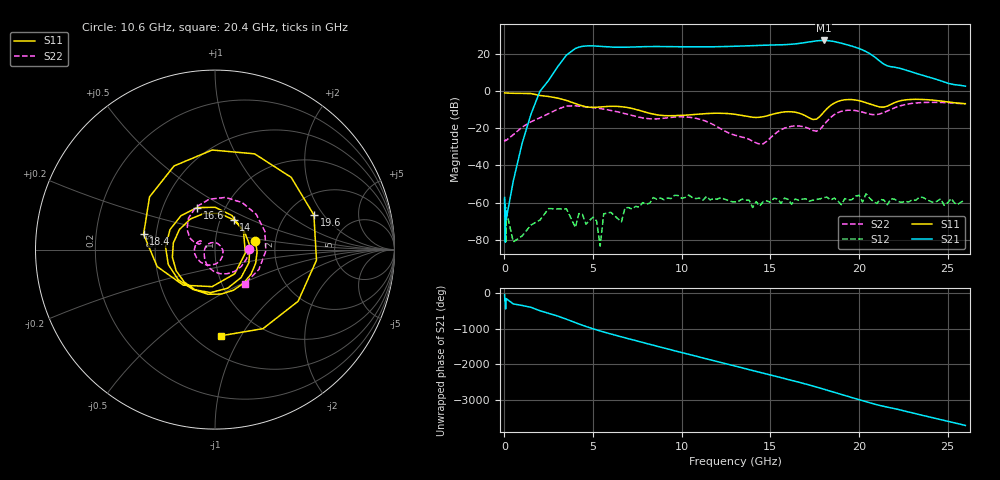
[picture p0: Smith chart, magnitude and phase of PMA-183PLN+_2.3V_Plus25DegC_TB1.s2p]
!Keysight Technologies,N5244A,MY52442000,A.10.40.14
!Date: Tuesday, July 07, 2020 10:56:32
!Correction: S11(Full 2 Port(1,2))
!S21(Full 2 Port(1,2))
!S12(Full 2 Port(1,2))
!S22(Full 2 Port(1,2))
!S2P File: Measurements: S11, S21, S12, S22:
# Hz S  dB  R 50
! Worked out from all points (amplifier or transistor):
!   128 points, 10 MHz to 26 GHz, reference 50 ohm
!   highest |S21| = 27.1 dB at 18 GHz (marker M1)
!   |S21| within 3 dB of that: 13.32 GHz to 19.59 GHz (6.268 GHz wide, 38.1 % of centre)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
!   unconditionally stable (mu >= 1): start of sweep to end of sweep
!   at 4.8 GHz: K = 69.98, MAG = 25.4 dB, |S12| = -69.6 dB
!   at 13.4 GHz: K = 23.86, MAG = 24.3 dB, |S12| = -58.1 dB
!   at 26 GHz: K = 210.21, MAG = 4.5 dB, |S12| = -58.9 dB
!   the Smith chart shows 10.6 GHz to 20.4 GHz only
!   S11 on the Smith chart (normalised r, x): 10.6 GHz: 1.57, +0.16; 14 GHz: 1.16, +0.40; 16.6 GHz: 0.74, +0.37; 18.4 GHz: 0.43, +0.09; 19.6 GHz: 2.76, +1.61; 20.4 GHz: 0.66, -0.82
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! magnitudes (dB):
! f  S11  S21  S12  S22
! 10 MHz  -1.0  -57.2  -57.8  -26.3
! 20 MHz  -1.1  -67.2  -78.0  -26.9
! 40 MHz  -1.1  -61.2  -61.6  -26.8
! 50 MHz  -1.1  -81.2  -64.4  -26.6
! 90 MHz  -1.2  -68.6  -81.6  -26.5
! 100 MHz  -1.2  -69.0  -64.0  -26.6
! 500 MHz  -1.3  -48.4  -81.1  -23.5
! 2 GHz  -2.5  -0.3  -69.4  -14.4
! 4.4 GHz  -8.1  23.9  -66.3  -8.4
! 5.4 GHz  -8.6  23.9  -83.4  -9.5
! 8.8 GHz  -13.1  23.8  -57.5  -14.9
! 10.6 GHz  -12.7  23.6  -57.3  -14.4
! 13.2 GHz  -12.9  24.0  -59.2  -24.3
! 14 GHz  -14.2  24.3  -62.6  -27.0
! 16.6 GHz  -11.9  25.4  -58.7  -18.8
! 17.4 GHz  -15.4  26.6  -58.6  -21.3
! 18 GHz  -11.5  27.1  -57.3  -18.5
! 18.4 GHz  -7.8  26.8  -58.6  -14.3
! 19.6 GHz  -4.7  24.0  -58.4  -10.4
! 20.4 GHz  -6.4  21.1  -55.2  -12.0
! 21.8 GHz  -7.3  13.0  -58.0  -9.9
! 26 GHz  -6.9  2.5  -58.9  -7.0
